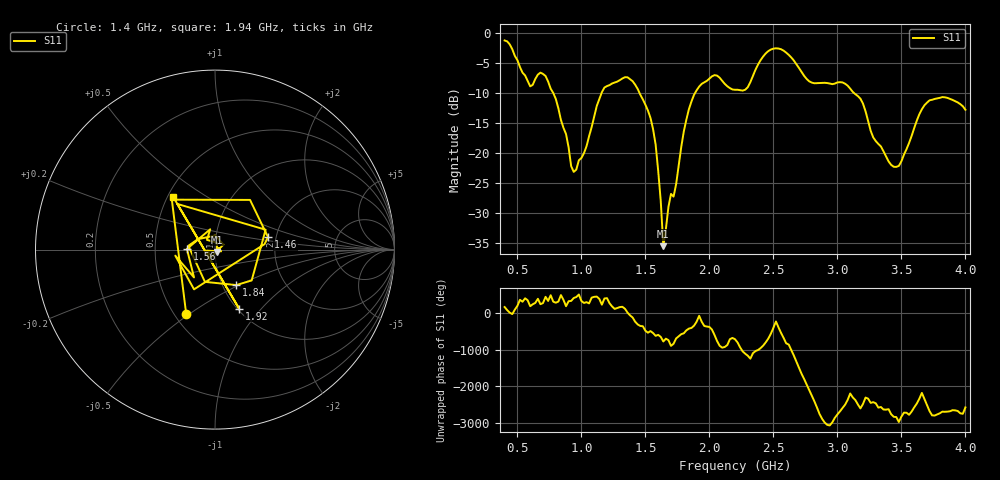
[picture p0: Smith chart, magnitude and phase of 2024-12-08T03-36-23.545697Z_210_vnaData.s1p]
!Created with skrf (http://scikit-rf.org).
# Hz S RI R 50.0
!freq ReS11 ImS11
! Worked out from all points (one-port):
!   181 points, 400 MHz to 4 GHz, reference 50 ohm
!   lowest |S11| = -35.6 dB at 1.64 GHz (marker M1), VSWR 1.03, Z = 51 - j1.34 ohm
!   |S11| at or under -10 dB: 778.2 MHz to 1.159 GHz (380.7 MHz wide, 39.3 % of centre); 1.453 GHz to 1.89 GHz (437.4 MHz wide, 26.2 % of centre); 3.126 GHz to end of sweep
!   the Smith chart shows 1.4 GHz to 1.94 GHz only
!   S11 on the Smith chart (normalised r, x): 1.4 GHz: 0.57, -0.49; 1.46 GHz: 1.81, +0.28; 1.56 GHz: 0.73, +0.01; 1.84 GHz: 1.16, -0.48; 1.92 GHz: 1.02, -0.77; 1.94 GHz: 0.54, +0.36
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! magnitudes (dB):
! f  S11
! 400 MHz  -1.3
! 600 MHz  -9.0
! 720 MHz  -7.2
! 860 MHz  -15.9
! 940 MHz  -23.2
! 1.16 GHz  -9.9
! 1.3 GHz  -7.9
! 1.4 GHz  -8.1
! 1.46 GHz  -10.4
! 1.56 GHz  -16.1
! 1.6 GHz  -23.1
! 1.64 GHz  -35.6
! 1.68 GHz  -29.0
! 1.76 GHz  -22.1
! 1.84 GHz  -12.8
! 1.92 GHz  -9.0
! 1.94 GHz  -8.5
! 2.04 GHz  -7.1
! 2.2 GHz  -9.5
! 2.3 GHz  -9.1
! 2.48 GHz  -2.8
! 2.66 GHz  -4.7
! 2.8 GHz  -8.3
! 3.1 GHz  -9.3
! 3.42 GHz  -22.0
! 3.56 GHz  -18.4
! 3.72 GHz  -11.3
! 4 GHz  -12.9
